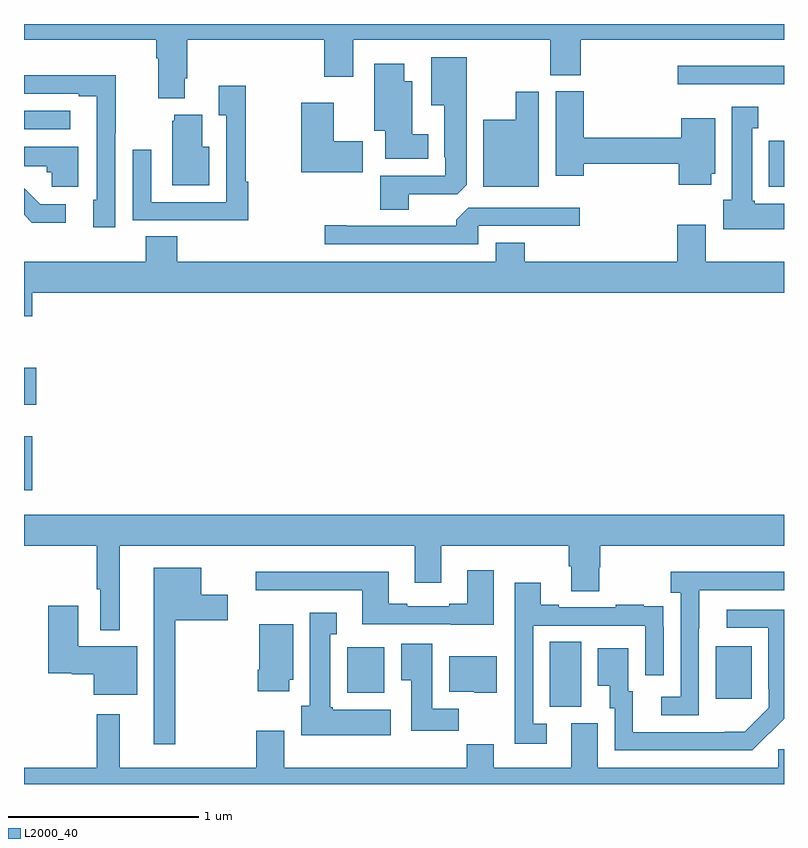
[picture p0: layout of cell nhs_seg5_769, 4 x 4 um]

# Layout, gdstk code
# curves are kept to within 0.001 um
import gdstk
lib = gdstk.Library(unit=1e-6, precision=1e-09)
def R(c, l, rs):  # rectangles x0, y0, x1, y1
    for r in rs: c.add(gdstk.rectangle(r[:2], r[2:], *l))
def P(c, l, *ps):  # polygons
    for p in ps: c.add(gdstk.Polygon(p, *l))
L2000_40 = (2000, 40)

nhs_seg5_769 = lib.new_cell('nhs_seg5_769')
R(nhs_seg5_769, L2000_40, [(161.768,897.205,161.932,897.548), (162.641,897.249,162.829,897.523), (160.7,897.278,160.897,897.52), (159,898.344,159.044,898.63), (159,898.796,159.064,898.99), (162.92,899.942,163,900.184), (159,900.246,159.244,900.342), (162.441,900.483,163,900.58)])
P(nhs_seg5_769, L2000_40, [(159.847,900.514),(159.86,900.514),(159.86,900.716),(160.58,900.716),(160.58,900.522),(160.732,900.522),(160.732,900.716),(161.77,900.716),(161.77,900.529),(161.93,900.529),(161.93,900.716),(163,900.716),(163,900.799),(159,900.799),(159,900.716),(159.695,900.716),(159.695,900.62),(159.707,900.62),(159.707,900.407),(159.847,900.407)],
  [(161.026,899.904),(161.28,899.904),(161.329,899.953),(161.329,900.625),(161.144,900.625),(161.144,900.371),(161.213,900.371),(161.213,900.097),(161.217,900.097),(161.217,900),(160.874,900),(160.874,899.821),(161.026,899.821)],
  [(161.128,900.22),(161.044,900.22),(161.044,900.499),(161.002,900.499),(161.002,900.589),(160.844,900.589),(160.844,900.236),(160.901,900.236),(160.901,900.089),(161.128,900.089)],
  [(159.48,900.223),(159.483,900.223),(159.483,900.53),(159.019,900.53),(159.019,900.528),(159,900.528),(159,900.432),(159.287,900.432),(159.287,900.42),(159.384,900.42),(159.384,899.874),(159.365,899.874),(159.365,899.73),(159.48,899.73)],
  [(160.181,899.969),(160.166,899.969),(160.166,900.475),(160.025,900.475),(160.025,900.319),(160.065,900.319),(160.065,899.862),(159.669,899.862),(159.669,900.136),(159.573,900.136),(159.573,899.766),(159.889,899.766),(159.889,899.765),(160.181,899.765)],
  [(162.616,900.012),(162.637,900.012),(162.637,900.304),(162.458,900.304),(162.458,900.2),(161.945,900.2),(161.945,900.444),(161.798,900.444),(161.798,900),(161.945,900),(161.945,900.064),(162.446,900.064),(162.446,899.952),(162.616,899.952)],
  [(161.71,900.442),(161.588,900.442),(161.588,900.295),(161.417,900.295),(161.417,899.942),(161.71,899.942)],
  [(160.783,900.183),(160.63,900.183),(160.63,900.385),(160.46,900.385),(160.46,900.02),(160.783,900.02)],
  [(163,899.854),(162.846,899.854),(162.846,899.868),(162.832,899.868),(162.832,900.251),(162.865,900.251),(162.865,900.364),(162.725,900.364),(162.725,899.874),(162.68,899.874),(162.68,899.72),(163,899.72)],
  [(159.976,900.154),(159.937,900.154),(159.937,900.322),(159.791,900.322),(159.791,900.291),(159.779,900.291),(159.779,899.951),(159.976,899.951)],
  [(159.286,900.154),(159,900.154),(159,900.05),(159.121,900.05),(159.121,900.018),(159.147,900.018),(159.147,899.942),(159.286,899.942)],
  [(159.22,899.85),(159.085,899.85),(159,899.935),(159,899.794),(159.041,899.753),(159.22,899.753)],
  [(161.391,899.736),(161.926,899.736),(161.926,899.832),(161.337,899.832),(161.276,899.77),(161.276,899.736),(160.696,899.736),(160.696,899.741),(160.584,899.741),(160.584,899.64),(161.391,899.64)],
  [(163,899.548),(162.589,899.548),(162.589,899.743),(162.437,899.743),(162.437,899.548),(161.636,899.548),(161.636,899.647),(161.483,899.647),(161.483,899.548),(159.806,899.548),(159.806,899.681),(159.641,899.681),(159.641,899.548),(159,899.548),(159,899.26),(159.044,899.26),(159.044,899.384),(163,899.384)],
  [(159.505,898.052),(161.057,898.052),(161.057,897.858),(161.197,897.858),(161.197,898.052),(161.867,898.052),(161.867,897.946),(161.879,897.946),(161.879,897.814),(162.027,897.814),(162.027,897.939),(162.032,897.939),(162.032,898.052),(163,898.052),(163,898.216),(159,898.216),(159,898.052),(159.384,898.052),(159.384,897.823),(159.401,897.823),(159.401,897.608),(159.505,897.608)],
  [(159.797,897.662),(160.072,897.662),(160.072,897.796),(159.934,897.796),(159.934,897.937),(159.683,897.937),(159.683,897.009),(159.797,897.009)],
  [(161.473,897.925),(161.333,897.925),(161.333,897.748),(161.237,897.748),(161.237,897.735),(161.017,897.735),(161.017,897.748),(160.921,897.748),(160.921,897.916),(160.221,897.916),(160.221,897.819),(160.781,897.819),(160.781,897.639),(161.245,897.639),(161.245,897.638),(161.473,897.638)],
  [(162.552,897.619),(162.553,897.619),(162.553,897.819),(163,897.819),(163,897.916),(162.405,897.916),(162.405,897.806),(162.456,897.806),(162.456,897.258),(162.354,897.258),(162.354,897.162),(162.552,897.162)],
  [(161.752,897.117),(161.679,897.117),(161.679,897.633),(162.27,897.633),(162.27,897.372),(162.366,897.372),(162.366,897.626),(162.365,897.626),(162.365,897.735),(162.263,897.735),(162.263,897.742),(162.115,897.742),(162.115,897.729),(161.815,897.729),(161.815,897.742),(161.719,897.742),(161.719,897.859),(161.583,897.859),(161.583,897.012),(161.752,897.012)],
  [(159.595,897.523),(159.286,897.523),(159.286,897.736),(159.128,897.736),(159.128,897.383),(159.252,897.383),(159.252,897.376),(159.368,897.376),(159.368,897.269),(159.595,897.269)],
  [(162.923,897.067),(162.924,897.066),(163,897.142),(163,897.717),(162.699,897.717),(162.699,897.621),(162.918,897.621),(162.918,897.301),(162.921,897.301),(162.921,897.201),(162.793,897.073),(162.205,897.072),(162.205,897.288),(162.181,897.288),(162.181,897.514),(162.02,897.514),(162.02,897.317),(162.083,897.317),(162.083,897.198),(162.108,897.198),(162.108,896.976),(162.832,896.976)],
  [(160.93,897.19),(160.626,897.19),(160.626,897.204),(160.612,897.204),(160.612,897.587),(160.645,897.587),(160.645,897.7),(160.505,897.7),(160.505,897.21),(160.46,897.21),(160.46,897.056),(160.93,897.056)],
  [(160.396,897.348),(160.417,897.348),(160.417,897.64),(160.238,897.64),(160.238,897.4),(160.231,897.4),(160.231,897.288),(160.396,897.288)],
  [(161.288,897.196),(161.149,897.196),(161.149,897.538),(160.985,897.538),(160.985,897.344),(161.039,897.344),(161.039,897.078),(161.288,897.078)],
  [(161.488,897.472),(161.237,897.472),(161.237,897.284),(161.37,897.284),(161.37,897.278),(161.488,897.278)],
  [(163,896.982),(162.969,896.982),(162.969,896.884),(162.019,896.884),(162.019,897.12),(161.879,897.12),(161.879,896.884),(161.473,896.884),(161.473,897.008),(161.329,897.008),(161.329,896.884),(160.369,896.884),(160.369,897.079),(160.222,897.079),(160.222,896.884),(159.505,896.884),(159.505,897.166),(159.384,897.166),(159.384,896.884),(159,896.884),(159,896.799),(163,896.799)])

lib.write_gds('nhs_seg5_769.gds')
